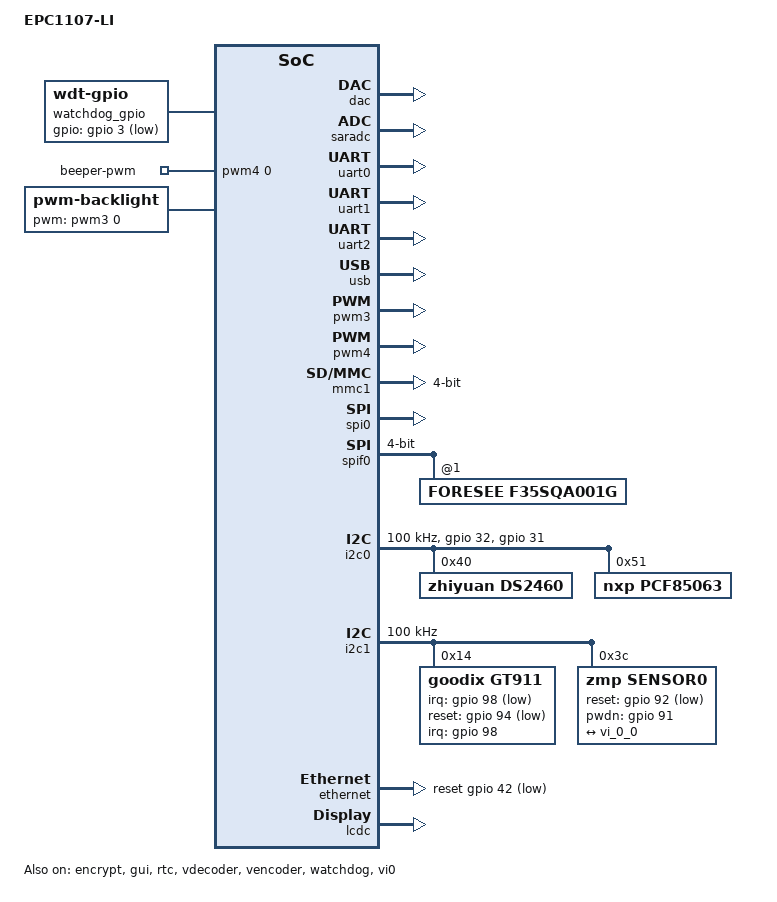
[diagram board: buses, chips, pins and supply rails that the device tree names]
/*
 * EPC1107-LI board common dts
 *
 * This program is free software; you can redistribute it and/or modify
 * it under the terms of the GNU General Public License as published by
 * the Free Software Foundation; either version 2 of the License, or
 * (at your option) any later version.
 *
 * This program is distributed in the hope that it will be useful,
 * but WITHOUT ANY WARRANTY; without even the implied warranty of
 * MERCHANTABILITY or FITNESS FOR A PARTICULAR PURPOSE.  See the
 * GNU General Public License for more details.
 */

/dts-v1/;
#include "zmp1107.dtsi"

/ {
	compatible = "zlgmcu,zmp110x";
	model = "EPC1107-LI";
	version = "V1.0.00";

	ramdisk:ramdisk{
		compatible = "zlgmcu,zmp110x-ramdisk";
		memory-region = <&dma_reserved>;
		status = "disable";
	};

	watchdog_gpio: watchdog_gpio {
		compatible = "linux,wdt-gpio";
		pinctrl-names = "default";
		pinctrl-0 = <&watchdog_gpio_pins>;
		gpios = <&gpio 3 GPIO_ACTIVE_LOW>;
		hw_algo = "toggle";
		hw_margin_ms = <1500>;
		always-running;
		status = "okay";
	};

	pwmleds {
		compatible = "pwm-leds";
		beeper {
			label = "beeper-pwm";
			pwms = <&pwm4 0 400000 0>;
			max-brightness = <255>;
			status = "okay";
		};
	};

	backlight {
		compatible = "pwm-backlight";
		pwms = <&pwm3 0 250000 0>;
		brightness-levels = <  0  20  20  21  21  22  22  23
		                      23  24  24  25  25  26  26  27
		                      27  28  28  29  29  30  30  31
		                      31  32  32  33  33  34  34  35
		                      35  36  36  37  37  38  38  39
		                      40  41  42  43  44  45  46  47
		                      48  49  50  51  52  53  54  55
		                      56  57  58  59  60  61  62  63
		                      64  65  66  67  68  69  70  71
		                      72  73  74  75  76  77  78  79
		                      80  81  82  83  84  85  86  87
		                      88  89  90  91  92  93  94  95
		                      96  97  98  99 100 101 102 103
		                     104 105 106 107 108 109 110 111
		                     112 113 114 115 116 117 118 119
		                     120 121 122 123 124 125 126 127
		                     128 129 130 131 132 133 134 135
		                     136 137 138 139 140 141 142 143
		                     144 145 146 147 148 149 150 151
		                     152 153 154 155 156 157 158 159
		                     160 161 162 163 164 165 166 167
		                     168 169 170 171 172 173 174 175
		                     176 177 178 179 180 181 182 183
		                     184 185 186 187 188 189 190 191
		                     192 193 194 195 196 197 198 199
		                     200 201 202 203 204 205 206 207
		                     208 209 210 211 212 213 214 215
		                     216 217 218 219 220 221 222 223
		                     224 225 226 227 228 229 230 231
		                     232 233 234 235 236 237 238 239
		                     240 241 242 243 244 245 246 247
		                     248 249 250 251 252 253 254 255 >;
		default-brightness-level = <200>;
		status = "okay";
	};

};

/*********************** EPC1107-LI On-Chip Peripherals ***********************/

&dac {
	/*
	 * speak-down: speaker state, 0 = disable, 1 = enable
	 * speak-gpios: speaker enable pin
	 * speak-gpios-en: speaker enable level, 0 = low, 1 = high
	 * linein-detect: 0 = disable, 1 = eanble
	 * hp-mute: set headphone mute, 0 = disable, 1 = enable
	 * hp-detect: detect headphone insert, 0 = disable, 1 = eanble
	 */
	// pinctrl-names = "default";
	// pinctrl-0 = <&speak_pins>;
	speak-down = <1>;
	// speak-gpios = <&gpio 97 1>;
	speak-gpios-en = <1>;
	linein-detect = <0>;
	hp-mute = <0>;
	hp-detect = <0>;
	status = "okay";
};

&encrypt{
	/*
	 * encrypt-mode: 0 = CRYPTO_SINGLE_GROUP_MODE ; 1 = CRYPTO_MULTI_GROUP_MODE
	 */
	encrypt-mode = <1>;
	status = "okay";
};

&gui {
	status = "okay";
};

&rtc {
	/*
	 * osc-select: choose time source,
	 *            1 means INTERNAL RC OSC, 0 means EXTERNAL XTAL
	 * adjust-time: when osc-select is set to 1,
	 *            this option should be also set(basic unit: ms)
	 */
	osc-select = <1>;
	// adjust-time = <120000>;
	status = "okay";
};

&saradc{
	/*
	 * vref-select: SAR ADC VREF selection
	 *            0 - To select AVCC 3.3V as VREF for SAR ADC.
	 *            1 - To select 3.0V generated from BGR as VREF for SAR ADC.
	 * battery-divider: BAT voltage divider divided by 2, 0 = disable, 1 = enable
	 * sampling-num: sampling number, read the sampling data for N times
	 *            and then calculate the average value. N ranges from 1 to 7.
	 */
	vref-select = <1>;
	battery-divider = <1>;
	sampling-num = <7>;
	status = "okay";
};

&uart0 {
  pinctrl-names = "default";
  pinctrl-0 = <&uart0_pins>;
  status = "okay";
};

&uart1 {
	pinctrl-names = "default";
	pinctrl-0 = <&uart1_pins &uart1_rs485dir_pins>;
	dir-gpios = <&gpio 33 1>;
	status = "okay";
};

&uart2 {
	pinctrl-names = "default";
	pinctrl-0 = <&uart2_pins &uart2_rs485dir_pins>;
	dir-gpios = <&gpio 38 1>;
	status = "okay";
};

&usb {
	status = "okay";
};

&vdecoder {
	status = "okay";
};

&vencoder {
	status = "okay";
};

&watchdog {
	/*
	 * def_heartbeat: feed dog time, max time = 357s, default setting time = 10s.
	 */
	def_heartbeat = <10>;
	status = "okay";
};

&pwm3 {
	#pwm-cells = <3>;
	pinctrl-names = "default";
	pinctrl-0 = <&pwm3_pins>;
	period-ns = <1000000>;
	duty-ns = <1000000>;
	pwm-enable = <1>;
	status = "okay";
};

&pwm4 {
	#pwm-cells = <3>;
	pinctrl-names = "default";
	pinctrl-0 = <&pwm4_pins>;
	period-ns = <1000000>;
	duty-ns = <500000>;
	pwm-enable = <0>;
	status = "okay";
};

/*********************** EPC1107-LI On-Board Peripherals **********************/

&mmc1 {
	pinctrl-names = "default";
	pinctrl-0 = <&mci1_pins &sd_detect_pins>;
	bus-width = <0x4>;
	max-frequency = <120000000>;
	detect-gpio = <&gpio 122 1>;
	cap-sd-highspeed;
	status = "okay";
};

&spi0 {
	/*
	 * spi-bus-frequency: SPI Bus frequency, maximun is 60M/s
	 * cap-spi-highspeed: if defined, SPI support high speed mode.
	                    spi-bus-frequency maximun become 80M/s
	 */
	spi-bus-frequency = <80000000>;
	cap-spi-highspeed;
	pinctrl-names = "default";
	pinctrl-0 = <&spiflash_pins>;
	cs-gpios = <&gpio 12 1>;
	status = "okay";
};

&spif0 {
	/*
	 * bus-width: spi flash data bus width, default is 4 wire mode
	 *           1 - means 1 wire mode.
	 *           2 - means 2 wire mode
	 *           4 - means 4 wire mode.
	 */
	compatible = "zlgmcu,zmp-spinand";
	bus-width = <4>;
	status = "okay";

	F35SQA001G: spi-nandflash@1 {
		compatible = "FORESEE,F35SQA001G";
		nandflash-name = "F35SQA001G";

		/* spiflash F35SQA001G */
		nandflash-jedec-id = <0xcd7171cd>;
		nandflash-ext-id = <0>;
		nandflash-planecnt = <1>;
		nandflash-page_size = <2048>;
		nandflash-page_per_block = <64>;
		nandflash-block_size = <0x20000>;
		nandflash-n_blocks = <1024>;
		nandflash-oob_size = <64>;

		nandflash-oob_up_skiplen = <0>;
		nandflash-oob_seglen = <12>;
		nandflash-oob_down_skiplen = <4>;

		nandflash-oob_seg_perpage = <4>;
		nandflash-oob_vail_data_offset = <8>;

		/*
		* flags = SFLAG_DUAL_READ|SFLAG_QUAD_READ|SFLAG_QUAD_WRITE
		* = 0x8A0
		*/
		nandflash-flags = <0x8A0>;
		nandflash-b_wip = <0>;
		nandflash-b_wel = <1>;
		nandflash-b_efail = <2>;
		nandflash-b_pfaile = <3>;

		nandflash-b_bp2 = <4>;              
		nandflash-b_bp3 = <5>;                
		nandflash-b_bp4 = <6>;                
		nandflash-b_srp0 = <7>;         
		nandflash-b_qe = <8>;         
		nandflash-b_srp1 = <9>;                
		nandflash-b_lb = <10>;                
		nandflash-b_cmp = <14>;         
		nandflash-b_sus = <15>;  

		/* bad block flag ops */
		nandflash-badflag_offs = <0>;
		nandflash-badflag_len = <1>;

		/*
			* 0x00000000:scan first one page
			* 0x00008000:scan first two page
			* 0x00010000:scan last  one page
			* 0x00018000:scan last  two page
			* 0x01000000:scan first and last page
			*/
		nandflash-badflag_option = <0x00008000>;

		status = "okay";
    };
};

&i2c0 {
	pinctrl-names = "default";
	pinctrl-0 = <&i2c0_pins>;
	clock-frequency = <100000>;
	sda-delay = <100>;
	status = "okay";
	gpios = <&gpio 32 0 &gpio 31 0>; // sda, scl
	i2c-gpio,sda-open-drain;
	i2c-gpio,scl-open-drain;
	i2c-gpio,delay-us = <2>; /* ~100 kHz */
	#address-cells = <1>;
	#size-cells = <0>;

	ds2460: ds2460@40{
		compatible = "zhiyuan,ds2460";
		reg = <0x40>;
	};

	pcf85063: pcf85063@51 {
		compatible = "nxp,pcf85063";
		reg = <0x51>;
		#clock-cells = <0>;
	};
};

&i2c1 {
	pinctrl-names = "default";
	pinctrl-0 = <&i2c1_pins>;
	clock-frequency = <100000>;
	sda-delay = <300>;
	status = "okay";
	#address-cells = <1>;
	#size-cells = <0>;

	gt911: gt911@14 {
		compatible = "goodix,gt911";
		reg = <0x14>;
		pinctrl-names = "default";
		pinctrl-0 = <&touch_pins>;
		irq-gpio = <&gpio 98 1>;
		reset-gpio = <&gpio 94 1>;
		interrupts = <98 2>;
		interrupt-parent = <&gpio>;
		status = "okay";
	};

	//bu21029: bu21029@40 {
	//	pinctrl-names = "default";
	//	pinctrl-0 = <&bu21029_pins>;
	//	compatible = "rohm,bu21029";
	//	reg = <0x40>;
	//	interrupt-parent = <&gpio>;
	//	interrupts = <97 2>;
	//	reset-gpios = <&gpio 93 GPIO_ACTIVE_LOW>;
	//	rohm,x-plate-ohms = <600>;
	//	touchscreen-size-x = <480>;
	//	touchscreen-size-y = <272>;
	//	touchscreen-max-pressure = <4095>;
	//};

	sensor0: camera@3c {
		compatible = "zmp,sensor0";
		reg = <0x3c>;
		pinctrl-names = "default";
		pinctrl-0 = <&sensor0_pins>;
		reset-gpio = <&gpio 92 1>;
		pwdn-gpio = <&gpio 91 0>;
		status = "okay";
		port {
			sensor0_0: endpoint@0 {
				remote-endpoint = <&vi_0_0>;
			};
		};
	};
};

&ethernet {
	pinctrl-names = "default";
	pinctrl-0 = <&ethernet_pins_rmii &phy_reset_pins>;
	reset-gpios = <&gpio 42 1>;
	/* mac-address = [00 04 9F 01 1B B0]; */
	status = "okay";
};

&lcdc {
    pinctrl-names = "default";
    pinctrl-0 = <&lcd_reset_pins>; //<&lcd_pins>,<&lcd_reset_pins>; //lcd_pins for rgb lcd, lcd_reset_pins only for mipi lcd
    reset-pins = <&gpio 95 1>; //only for mipi lcd

    lcd-logo-width = <720>;
    lcd-logo-height = <720>;
    //[fmt1:fmt0] 00 16bits input(RGB565 or BGR565)
    //[fmt1:fmt0] 01 24bits input(RGB888 or BGR888)
    //[fmt1:fmt0] 10 or 11 32bits input(ARGB888 ABGR888 RGBA888 BGRA888)
    lcd-logo-fmt0 = <0>;
    lcd-logo-fmt1 = <0>;
    lcd-logo-rgb-seq = <0>; //0 for BGR, 1 for RGB  -> output seq ;use for framebuffer rgbseq
    lcd-rgb-bg-color = <0xffffffff>; //bg color: white
    lcd-fb-type = <1>; //0:single buffer; 1:double buffer
    lcd-logo-a-location = <0>; // 0 for ARGB/ABGR, 1 for RGBA/BGRA

    status = "okay";

    lcd-alarm-empty = <128>;
    lcd-alarm-full = <510>;
    lcd-dma-mode = <1>;
    //lcd-dummy-seq = <0>; //for 8bit rgb panel set
    //lcd-rgb-seq-sel = <0>;
    //lcd-rgb-odd-seq = <0>;
    //lcd-rgb-even-seq = <0>;
    lcd-rgb-tpg-sel = <1>;
    lcd-vpage-en = <0>; //don't support vpage function in driver
    lcd-blank-sel = <0>;
    lcd-pos-blank-level = <0>;
    lcd-neg-blank-level = <0>;
    lcd-rgb-bg-color = <0x00000000>;
    lcd-vh-delay-en = <0>;
    lcd-vh-delay-cycle = <0>;
    lcd-v-unit = <0>;
    lcd-alert-line = <30>;

    vt40ihdm16: lcd-panel@0 {
        panel-if = <1>; //0 for RGB, 1 for MIPI
        panel-rgb-seq = <1>; //0 for BGR, 1 for RGB
        panel-width = <720>;
        panel-height = <720>;
        panel-pclk-div = <14>; //pixel clock = Peri_pll/(pclk_div+1)
        panel-dsi-num-lane = <3>; //0-3: 1lane-4lane
        //0-3: data0-data3, 4: clk
        panel-dsi-txd0 = <0>;
        panel-dsi-txd1 = <1>;
        panel-dsi-txd2 = <2>;
        panel-dsi-txd3 = <3>;
        panel-dsi-txd4 = <4>;
        panel-dsi-noncontinuous-clk = <0>; //0:continuous,1:noncontinuous
        panel-dsi-t-pre = <1>; //t-pre, >=1
        panel-dsi-t-post = <1>; //t-post=tlpx+t-prepare+t-zero+t-pre, >=1
        panel-dsi-tx-gap = <1>; //ths-exit
        panel-dsi-autoinsert-eotp = <0>; //0:not insert,1:auto-insert
        panel-dsi-htx-to-count = <0xFFFFFF>; //high speed TX timeout count
        panel-dsi-lrx-to-count = <0xFFFFFF>; //Low power RX timeout count
        panel-dsi-bta-to-count = <0xFFFFFF>; //Bus turn around timeout count
        panel-dsi-t-wakeup = <0xc8>; //DPHY T-wakeup time
        panel-dsi-pix-fifo-send-level = <512>; //buffer send level <= 512
        //0-2:16-bit config 1-3; 3-4:18-bit config 1-2; 5:24-bit
        panel-dsi-if-color-coding = <0x05>;
        //0:16-bit;1:18-bit;2:18-bit loosely packed;3:24-bit
        panel-dsi-pix-format = <0x03>;
        panel-dsi-vsync-pol = <0>; //0:active low; 1:active high
        panel-dsi-hsync-pol = <0>; //0:active low; 1:active high
        //0:Non-burst mode with sync pulses;
        //1:Noe-burst mode with sync events;
        //2:Burst mode; 3:reserved
        //panel-dsi-video-mode = <0>;
        panel-dsi-video-mode = <2>;
        //panel-dsi-hfp = <80>; //H front porch blanking packet payload size in bytes
        //panel-dsi-hbp = <80>; //H back porch blanking packet payload size in bytes
        //panel-dsi-hsa = <4>; //H sync width blanking packet payload size in bytes
        panel-dsi-hfp = <80>; //H front porch blanking packet payload size in bytes
        panel-dsi-hbp = <60>; //H back porch blanking packet payload size in bytes
        panel-dsi-hsa = <1>; //H sync width blanking packet payload size in bytes
        panel-dsi-mult-pkts-en = <0>; //0: single packet;1: two packets
        //panel-dsi-vbp = <12>; //V back porch lines
        //panel-dsi-vfp = <30>; //V front porch lines
        //panel-dsi-vsa = <4>;
        panel-dsi-vbp = <25>; //V back porch lines
        panel-dsi-vfp = <35>; //V front porch lines
        panel-dsi-vsa = <1>;
        //0:blanking packets send during BLLP;1:LP mode used for BLLP
        panel-dsi-bllp-mode = <1>;
        panel-dsi-use-null-pkt-bllp = <0>; //0:blanking packet; 1:Null packet
        panel-dsi-vc = <0x00>; //Virtual channel
        panel-dsi-cmd-type = <0x0>; //0:send in LP mode, 1:send in HS mode
        //panel-dsi-clk = <300>;
        panel-dsi-clk = <283>;

        status = "okay";

        panel-init-list =  //delay, type, data, parameters, end symbol
                          < 0x00 0x39 0xB9 0xF1 0x12 0x83 0xFFF
                            0x00 0x39 0xBA 0x33 0x81 0x05 0xF9 0x0E 0x0E 0x20
                                 0x00 0x00 0x00 0x00 0x00 0x00 0x00 0x44 0x25
                                 0x00 0x91 0x0A 0x00 0x00 0x02 0x4F 0xD1 0x00
                                 0x00 0x37 0xFFF
                            0x00 0x39 0xB8 0x25 0x22 0x20 0x03 0xFFF
                            0x00 0x39 0xBF 0x02 0x11 0x00 0xFFF
                            0x00 0x39 0xB3 0x10 0x10 0x0A 0x50 0x03 0xFF 0x00
                                 0x00 0x00 0x00 0xFFF
                            0x00 0x39 0xC0 0x73 0x73 0x50 0x50 0x00 0x00 0x08
                                 0x70 0x00 0xFFF
                            0x00 0x39 0xBC 0x46 0xFFF
                            0x00 0x39 0xCC 0x0B 0xFFF
                            0x00 0x39 0xB4 0x80 0xFFF
                            0x00 0x39 0xB2 0x3C 0x12 0x30 0xFFF
                            0x00 0x39 0xE3 0x07 0x07 0x0B 0x0B 0x03 0x0B 0x00
                                 0x00 0x00 0x00 0xFF 0x00 0x40 0x10 0xFFF
                            0x00 0x39 0xC1 0x53 0x00 0x32 0x32 0x77 0xF1 0xCC
                                 0xCC 0x77 0x77 0x33 0x33 0xFFF
                            0x00 0x39 0xB5 0x0A 0x0A 0xFFF
                            0x00 0x39 0xB6 0xB2 0xB2 0xFFF
                            0x00 0x39 0xE9 0x88 0x10 0x0A 0x10 0x0F 0xA1 0x80
                                 0x12 0x31 0x23 0x47 0x86 0xA1 0x80 0x47 0x08
                                 0x04 0x44 0x00 0x00 0x00 0x00 0x04 0x44 0x00
                                 0x00 0x00 0x00 0x75 0x31 0x88 0x88 0x88 0x1F
                                 0x88 0x38 0xFF 0x58 0x88 0x64 0x20 0x88 0x88
                                 0x88 0x0F 0x88 0x28 0xFF 0x48 0x88 0x00 0x00
                                 0x00 0x00 0x00 0x00 0x00 0x00 0x00 0x00 0x00
                                 0x00 0x00 0xFFF
                            0x00 0x39 0xEA 0x00 0x1A 0x00 0x00 0x00 0x00 0x02
                                 0x00 0x00 0x00 0x00 0x00 0x02 0x46 0x88 0x88
                                 0x88 0x28 0x8F 0x08 0xFF 0x48 0x88 0x13 0x57
                                 0x88 0x88 0x88 0x38 0x8F 0x18 0xFF 0x58 0x88
                                 0x23 0x00 0x00 0x01 0x02 0x00 0x00 0x00 0x00
                                 0x00 0x00 0x00 0x00 0x00 0x00 0x00 0x00 0x00
                                 0x00 0x00 0x40 0xA1 0x80 0x00 0x00 0x00 0x00
                                 0xFFF
                            0x00 0x39 0xE0 0x00 0x03 0x06 0x2D 0x3E 0x3F 0x34
                                 0x32 0x08 0x0C 0x0D 0x10 0x12 0x11 0x12 0x10
                                 0x15 0x00 0x03 0x06 0x2D 0x3E 0x3F 0x34 0x32
                                 0x08 0x0C 0x0D 0x10 0x12 0x11 0x12 0x10 0x15
                                 0xFFF
                            0xFA 0x05 0x11 0x00 0xFFF
                            0x32 0x05 0x29 0x00 0xFFF >;
                          //< 0x00 0x39 0xB9 0xF1 0x12 0x83 0xFFF
                          //  0x00 0x39 0x1C 0xBA 0x33 0x81 0x05 0xF9 0x0E 0x0E
                          //       0x20 0x00 0x00 0x00 0x00 0x00 0x00 0x00 0x44
                          //       0x25 0x00 0x91 0x0A 0x00 0x00 0x02 0x4F 0xD1
                          //       0x00 0x00 0x37 0xFFF
                          //  0x00 0x39 0xB8 0x24 0x22 0x20 0x03 0xFFF
                          //  0x00 0x39 0x04 0xBF 0x02 0x11 0x00 0xFFF
                          //  0x00 0x39 0x0B 0xB3 0x10 0x10 0x0A 0x50 0x03 0xFF
                          //       0x00 0x00 0x00 0x00 0xFFF
                          //  0x00 0x39 0xC0 0x73 0x73 0x50 0x50 0x00 0x00
                          //       0x08 0x70 0x00 0xFFF
                          //  0x00 0x39 0xBC 0x46 0xFFF
                          //  0x00 0x39 0xCC 0x0B 0xFFF
                          //  0x00 0x39 0xB4 0x80 0xFFF
                          //  0x00 0x39 0xB2 0x3C 0x12 0x30 0xFFF
                          //  0x00 0x39 0xE3 0x07 0x07 0x0B 0x0B 0x03 0x0B
                          //       0x00 0x00 0x00 0x00 0xFF 0x00 0x40 0x10 0xFFF
                          //  0x00 0x39 0xC1 0x53 0x00 0x32 0x32 0x77 0xE1
                          //       0xCC 0xCC 0x77 0x77 0x33 0x33 0xFFF
                          //  0x00 0x39 0xB5 0x0A 0x0A 0xFFF
                          //  0x00 0x39 0xB6 0xB2 0xB2 0xFFF
                          //  0x00 0x39 0xE9 0x88 0x10 0x0A 0x10 0x0F 0xA1
                          //       0x80 0x12 0x31 0x23 0x47 0x86 0xA1 0x80 0x47
                          //       0x08 0x04 0x44 0x00 0x00 0x00 0x00 0x04 0x44
                          //       0x00 0x00 0x00 0x00 0x75 0x31 0x88 0x88 0x88
                          //       0x1F 0x88 0x38 0xFF 0x58 0x88 0x64 0x20 0x88
                          //       0x88 0x88 0x0F 0x88 0x28 0xFF 0x48 0x88 0x00
                          //       0x00 0x00 0x00 0x00 0x00 0x00 0x00 0x00 0x00
                          //       0x00 0x00 0x00 0xFFF
                          //  0x00 0x39 0xEA 0x00 0x1A 0x00 0x00 0x00 0x00
                          //       0x02 0x00 0x00 0x00 0x00 0x00 0x02 0x46 0x88
                          //       0x88 0x88 0x28 0x8F 0x08 0xFF 0x48 0x88 0x13
                          //       0x57 0x88 0x88 0x88 0x38 0x8F 0x18 0xFF 0x58
                          //       0x88 0x23 0x10 0x00 0x01 0x02 0x00 0x00 0x00
                          //       0x00 0x00 0x00 0x00 0x00 0x00 0x00 0x00 0x00
                          //       0x00 0x00 0x00 0x40 0xA1 0x80 0x00 0x00 0x00
                          //       0x00 0xFFF
                          //  0x00 0x39 0xE0 0x06 0x05 0x08 0x2E 0x3E 0x3F
                          //       0x37 0x33 0x06 0x0B 0x0D 0x10 0x12 0x11 0x12
                          //       0x10 0x15 0x00 0x05 0x08 0x2E 0x3E 0x3F 0x37
                          //       0x33 0x06 0x0B 0x0D 0x10 0x12 0x11 0x12 0x10
                          //       0x15 0xFFF
                          //  0xFA 0x05 0x11 0x00 0xFFF
                          //  0x32 0x05 0x29 0x00 0xFFF >;
    };
};

&vi0{
	pinctrl-names = "dvp0_12bits", "dvp0_10bits", "dvp0_8bits",
		"mipi0_2lane", "mipi0_1lane", "mipi1_2lane", "mipi1_1lane",
		"csi0_sclk", "csi1_sclk";
	pinctrl-0 = <&dvp0_12bits_pins>;
	pinctrl-1 = <&dvp0_10bits_pins>;
	pinctrl-2 = <&dvp0_8bits_pins>;
	pinctrl-3 = <&mipi0_2lane_pins>;
	pinctrl-4 = <&mipi0_1lane_pins>;
	pinctrl-5 = <&mipi1_2lane_pins>;
	pinctrl-6 = <&mipi1_1lane_pins>;
	pinctrl-7 = <&csi0_sclk_pin>;
	pinctrl-8 = <&csi1_sclk_pin>;
	status = "okay";
	port@0 {
		#address-cells = <1>;
		#size-cells = <0>;
		vi_0_0: endpoint@0 {
			reg = <0>;
			remote-endpoint = <&sensor0_0>;
		};
	};
};

/************************** epc1107-li gpio settings **************************/
&gpio {
	/*
	 * zmp,pins: pin number, refer to zmp110x datasheet
	 * zmp,function: pin multiplexing, refer to zmp110x datasheet
	 * zmp,pull: config pin electrical characteristics, 32bit number
	 *  bit[31:24] --- slew rate, 0 = slow, 1 = fast
	 *  bit[23:16] --- input enable, 0 = disable, 1 = enable
	 *  bit[15:8]  --- drive strength, 4 levels value(0x00, 0x01, 0x02, 0x03)
	 *  bit[7]     --- open drain, 0 = disable, 1 = enable (only for gpio 31/32)
	 *  bit[6:4]   --- PUPD config, 1 = enable, 0 = disable
	 *  bit[3:0]   --- 0 = select PU, 1 = select PD
	 */
	watchdog_gpio_pins: watchdog_gpio_pins {
		zmp,pins = <3>;
		zmp,function = <0>;
		zmp,pull = <0x01000010>;
	};
	pwm_gpio_backlight_pins: pwm_gpio_backlight_pins {
		zmp,pins = <96>;
		zmp,function = <0>;
		zmp,pull = <0x01000100>;
	};
	pwm_gpio_beep_pins: pwm_gpio_beep_pins {
		zmp,pins = <25>;
		zmp,function = <0>;
		zmp,pull = <0x01000310>;
	};
	uart0_pins: uart0_pins {
		zmp,pins = <1 2>;
		zmp,function = <1>;
		zmp,pull = <0x01010010>;
	};
	uart1_pins: uart1_pins {
		zmp,pins = <36 37>;
		zmp,function = <2 3>;
		zmp,pull = <0x01010010 0x01010010>;
	};
	uart1_rs485dir_pins: uart1_rs485dir_pins {
		zmp,pins = <33>;
		zmp,function = <0>;
		zmp,pull = <0x01000311>;
	};
	uart2_pins: uart2_pins {
		zmp,pins = <34 35>;
		zmp,function = <2>;
		zmp,pull = <0x01010010>;
	};
	uart2_rs485dir_pins: uart2_rs485dir_pins {
		zmp,pins = <38>;
		zmp,function = <0>;
		zmp,pull = <0x01000311>;
	};
	pwm3_pins: pwm3_pins {
		zmp,pins = <40>;
		zmp,function = <2>;
		zmp,pull = <0x01011110>;
	};
	pwm4_pins: pwm4_pins {
		zmp,pins = <41>;
		zmp,function = <2>;
		zmp,pull = <0x01011110>;
	};
	mci1_pins: mci1_pins {
		zmp,pins = <43 44 45 46 47 48>;
		zmp,function = <1>;
		zmp,pull = <0x10010 0x10000 0x10010 0x10010 0x10010 0x10010>; /* 4 line */
	};
	sd_detect_pins: sd_detect_pins {
		zmp,pins = <122>;
		zmp,function = <0>;
		zmp,pull = <0x01010010>;
	};
	spiflash_pins: spiflash_pins {
		zmp,pins = <12 67 68 69 70>; // 4 LINE mode, 12 is spi nor cs
		zmp,function = <1 0 0 0 0>;
		zmp,pull = <0x01010010>;
	};
	i2c0_pins: i2c0_pins {
		zmp,pins = <31 32>;
		zmp,function = <1>;
		zmp,pull = <0x01010380>; // open drain
	};
	i2c1_pins: i2c1_pins {
		zmp,pins = <27 28>;
		zmp,function = <3>;
		zmp,pull = <0x01010310>;
	};
	bu21029_pins: bu21029_pins {
		zmp,pins = <93 97>;
		zmp,function = <0>;
		zmp,pull = <0x01000010 0x01010010>;
	};
	touch_pins: touch_pins {
		zmp,pins = <98 94>;
		zmp,function = <0>;
		zmp,pull = <0x01010000 0x01000110>;
	};
	ethernet_pins_rmii: ethernet_pins_rmii {
		zmp,pins   = <10 11 13 14 15 19 20 23 24 49>;
		zmp,function  = <1>;
		zmp,pull = <0x01010011 0x01010010 0x01010011 0x01010011 0x01010011 0x01010011 0x01010011 0x01010011 0x01010011 0x01010110>;
	};
	phy_reset_pins: phy_reset_pins {
		zmp,pins = <42>;
		zmp,function = <0>;
		zmp,pull = <0x01000010>;
	};
	//lcd_pins: lcd_pins {
	//	zmp,pins = <71 72 73 74 75 76 77 78 79 80 81 82 83 84 85 86 87 88 89 90>;
	//	zmp,function = <1>;
	//	zmp,pull = <0x01010310>;
	//};
	lcd_reset_pins: lcd_reset_pins {
		zmp,pins = <95>;
		zmp,function = <0>;
		zmp,pull = <0x01000310>;
	};

	// Camera
	dvp0_12bits_pins: dvp0_12bits_pins {
		zmp,pins = <25 26 27 28 111 112 113 114 115 116 117 118 119 120 121 122>;
		zmp,function = <1>;
		zmp,pull = <0x01010310>;
	};
	dvp0_10bits_pins: dvp0_10bits_pins {
		zmp,pins = <25 26 27 28 111 112 113 114 115 116 117 118 119 120 121 122>;
		zmp,function = <1>;
		zmp,pull = <0x01010310>;
	};
	dvp0_8bits_pins: dvp0_8bits_pins {
		zmp,pins = <25 26 27 28 111 112 113 114 115 116 117 118 119 120 121 122>;
		zmp,function = <1>;
		zmp,pull = <0x01010310>;
	};
	mipi0_2lane_pins: mipi0_2lane_pins {
		zmp,pins = <25 111 112 113 114 115 116>;
		zmp,function = <1 2 2 2 2 2 2>;
		zmp,pull = <0x01010310>;
	};
	mipi0_1lane_pins: mipi0_1lane_pins {
		zmp,pins = <25 111 112 113 114>;
		zmp,function = <1 2 2 2 2>;
		zmp,pull = <0x01010310>;
	};
	mipi1_2lane_pins: mipi1_2lane_pins {
		zmp,pins = <26 117 118 119 120 121 122>;
		zmp,function = <1 2 2 2 2 2 2>;
		zmp,pull = <0x01010310>;
	};
	mipi1_1lane_pins: mipi1_1lane_pins {
		zmp,pins = <26 117 118 119 120>;
		zmp,function = <1 2 2 2 2>;
		zmp,pull = <0x01010310>;
	};
	csi0_sclk_pin: csi0_sclk_pin {
		zmp,pins = <25>;
		zmp,function = <1>;
		zmp,pull = <0x01010310>;
	};
	csi1_sclk_pin: csi1_sclk_pin {
		zmp,pins = <26>;
		zmp,function = <1>;
		zmp,pull = <0x01010310>;
	};
	sensor0_pins: sensor0_pins {
		zmp,pins = <91 92>;
		zmp,function = <0>;
		zmp,pull = <0x01000310 0x01000311>;
	};
};
